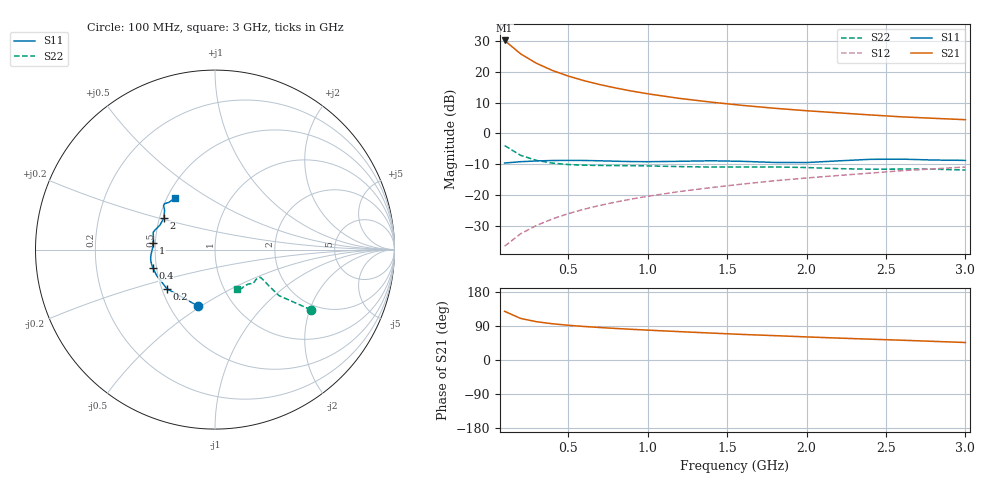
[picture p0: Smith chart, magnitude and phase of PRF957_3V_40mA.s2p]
! Philips part #:  PRF957  Date:  Nov 1998
! Bias condition:  Vce=3V, Ic=40mA
#  MHz  S  MA  R 50
! Freq  S11  S21  S12  S22
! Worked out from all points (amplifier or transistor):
!   20 points, 100 MHz to 3 GHz, reference 50 ohm
!   highest |S21| = 30.2 dB at 100 MHz (marker M1)
!   |S21| within 3 dB of that: start of sweep to 169.4 MHz
!   unconditionally stable (mu >= 1): 387.5 MHz to end of sweep
!   at 400 MHz: K = 1.01, MAG = 23.7 dB, |S12| = -27.8 dB
!   at 1.2 GHz: K = 1.08, MAG = 13.4 dB, |S12| = -18.9 dB
!   at 3 GHz: K = 1.04, MAG = 6.5 dB, |S12| = -11.0 dB
!   S11 on the Smith chart (normalised r, x): 100 MHz: 0.69, -0.49; 200 MHz: 0.53, -0.26; 400 MHz: 0.48, -0.11; 1 GHz: 0.49, +0.04; 2 GHz: 0.53, +0.21; 3 GHz: 0.55, +0.37
100  0.3288 -106.3  32.2 128.5  0.01467 68.6  0.6322 -32.1
200  0.3455 -140.8  19.57 109.8  0.02327 70.0  0.4393 -35.7
300  0.3553 -155.5  13.72 101.1  0.03176 73.0  0.3629 -34.0
400  0.3611 -163.5  10.51 95.6  0.04059 75.1  0.3279 -32.5
500  0.3633 -168.5  8.51 91.7  0.04949 76.5  0.311 -31.9
600  0.3619 -172.2  7.157 88.5  0.05843 77.3  0.3032 -31.6
700  0.3574 -175.5  6.176 85.7  0.06739 77.9  0.3002 -31.6
800  0.3517 -178.8  5.436 83.2  0.07645 78.3  0.2991 -31.5
900  0.3471 177.7  4.85 80.9  0.08558 78.5  0.2976 -31.5
1000  0.3454 174.2  4.384 78.8  0.09474 78.6  0.2952 -31.6
1200  0.3508 168.1  3.688 74.9  0.1131 78.4  0.2877 -32.9
1400  0.3577 164.5  3.206 71.0  0.1312 77.9  0.2826 -36.0
1600  0.3503 161.4  2.833 67.4  0.15 77.4  0.2837 -39.1
1800  0.3357 156.1  2.548 64.3  0.1695 76.5  0.2842 -41.1
2000  0.3347 148.3  2.324 61.0  0.1879 75.9  0.2777 -42.9
2200  0.3564 142.0  2.148 57.8  0.2061 75.1  0.2667 -46.2
2400  0.3774 139.4  1.988 55.0  0.2255 74.0  0.2608 -51.0
2600  0.3805 137.8  1.849 52.2  0.2468 72.7  0.2621 -55.2
2800  0.3676 134.3  1.751 49.2  0.2642 72.0  0.2613 -57.9
3000  0.3631 127.6  1.663 46.2  0.2833 71.4  0.2528 -60.6
